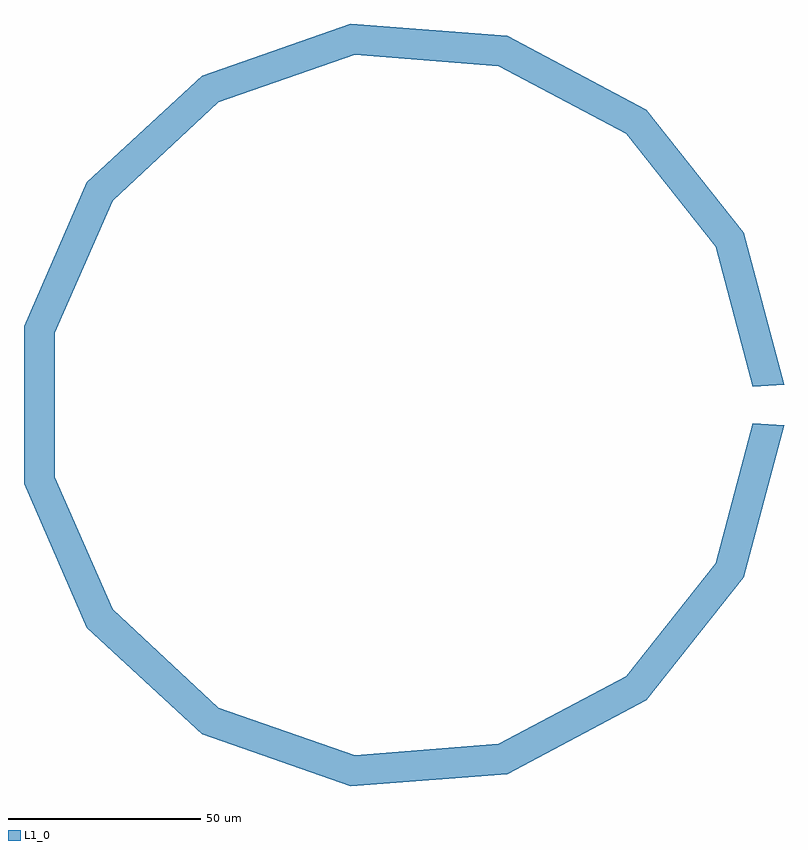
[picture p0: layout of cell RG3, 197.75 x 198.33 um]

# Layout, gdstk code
import gdstk
lib = gdstk.Library(unit=1e-6, precision=1e-09)
def P(c, l, *ps):  # polygons
    for p in ps: c.add(gdstk.Polygon(p, *l))
L1_0 = (1, 0)

rg3 = lib.new_cell('RG3')
P(rg3, L1_0, [(390.59,303.97),(380.99,340.29),(388.29,343.94),(398.73,304.4)],
  [(380.99,340.29),(357.66,369.72),(362.88,375.99),(388.29,343.94)],
  [(357.66,369.72),(324.49,387.36),(326.77,395.19),(362.88,375.99)],
  [(324.49,387.36),(287.04,390.24),(285.99,398.33),(326.77,395.19)],
  [(251.57,377.89),(247.37,384.88),(285.99,398.33),(287.04,390.24)],
  [(224.01,352.37),(217.36,357.09),(247.37,384.88),(251.57,377.89)],
  [(208.97,317.94),(200.98,319.61),(217.36,357.09),(224.01,352.37)],
  [(200.98,278.71),(200.98,319.61),(208.97,317.94),(208.97,280.38)],
  [(217.36,241.23),(200.98,278.71),(208.97,280.38),(224.01,245.96)],
  [(247.37,213.45),(217.36,241.23),(224.01,245.96),(251.57,220.44)],
  [(285.99,200),(247.37,213.45),(251.57,220.44),(287.04,208.08)],
  [(285.99,200),(287.04,208.08),(324.49,210.97),(326.77,203.13)],
  [(326.77,203.13),(324.49,210.97),(357.66,228.6),(362.88,222.33)],
  [(362.88,222.33),(357.66,228.6),(380.99,258.04),(388.29,254.39)],
  [(388.29,254.39),(380.99,258.04),(390.59,294.36),(398.73,293.93)])

lib.write_gds('RG3.gds')
